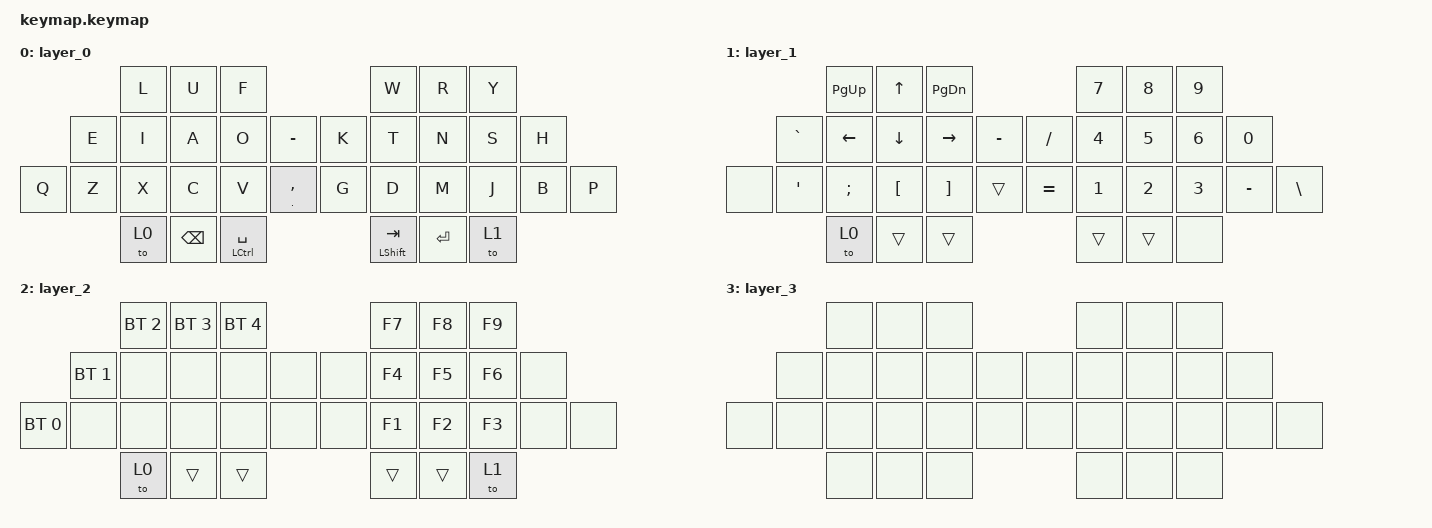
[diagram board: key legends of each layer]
#include <behaviors.dtsi>
#include <dt-bindings/zmk/bt.h>
#include <dt-bindings/zmk/keys.h>

/ {
    battery: battery {
        compatible = "zmk,battery";
        io-channels = <&adc 0>;
    };
};

/ {
    combos {
        compatible = "zmk,combos";

        kana {
            bindings = <&kp LANGUAGE_1>;
            key-positions = <8 9>;
        };

        esc {
            bindings = <&kp ESCAPE>;
            key-positions = <6 17>;
        };

        gui {
            bindings = <&kp LEFT_GUI>;
            key-positions = <6 16>;
        };

        alpha {
            bindings = <&kp LANGUAGE_2>;
            key-positions = <12 13>;
        };

        alt {
            bindings = <&kp LEFT_ALT>;
            key-positions = <14 26>;
        };

        ToLayer1 {
            bindings = <&to 1>;
            key-positions = <16 28>;
        };

        Fun7 {
            bindings = <&kp F7>;
            key-positions = <16 3>;
        };

        Fun8 {
            bindings = <&kp F8>;
            key-positions = <16 4>;
        };

        Fun9 {
            bindings = <&kp F9>;
            key-positions = <16 5>;
        };

        to_layer2 {
            bindings = <&to 2>;
            key-positions = <28 33>;
        };

        CtrtT {
            bindings = <&kp LC(T)>;
            key-positions = <30 10>;
        };

        CtrlW {
            bindings = <&kp LC(W)>;
            key-positions = <30 21>;
        };

        AltF4 {
            bindings = <&kp LA(F4)>;
            key-positions = <16 12>;
        };
    };

    keymap {
        compatible = "zmk,keymap";

        layer_0 {
            bindings = <
              &kp L  &kp U          &kp F                                     &kp W               &kp R      &kp Y
       &kp E  &kp I  &kp A          &kp O            &kp MINUS         &kp K  &kp T               &kp N      &kp S  &kp H
&kp Q  &kp Z  &kp X  &kp C          &kp V            &mt PERIOD COMMA  &kp G  &kp D               &kp M      &kp J  &kp B  &kp P
              &to 0  &kp BACKSPACE  &mt LCTRL SPACE                           &mt LEFT_SHIFT TAB  &kp ENTER  &to 1
            >;
        };

        layer_1 {
            bindings = <
                  &kp PAGE_UP    &kp UP_ARROW      &kp PAGE_DOWN                            &kp N7        &kp N8        &kp N9
       &kp GRAVE  &kp LEFT       &kp DOWN          &kp RIGHT          &kp MINUS  &kp SLASH  &kp NUMBER_4  &kp N5        &kp NUMBER_6  &kp N0
&none  &kp SQT    &kp SEMICOLON  &kp LEFT_BRACKET  &kp RIGHT_BRACKET  &trans     &kp EQUAL  &kp NUMBER_1  &kp NUMBER_2  &kp NUMBER_3  &kp MINUS  &kp BACKSLASH
                  &to 0          &trans            &trans                                   &trans        &trans        &none
            >;
        };

        layer_2 {
            bindings = <
                            &bt BT_SEL 2  &bt BT_SEL 3  &bt BT_SEL 4                &kp F7  &kp F8  &kp F9
              &bt BT_SEL 1  &none         &none         &none         &none  &none  &kp F4  &kp F5  &kp F6  &none
&bt BT_SEL 0  &none         &none         &none         &none         &none  &none  &kp F1  &kp F2  &kp F3  &none  &none
                            &to 0         &trans        &trans                      &trans  &trans  &to 1
            >;
        };

        layer_3 {
            bindings = <
              &none  &none  &none                &none  &none  &none
       &none  &none  &none  &none  &none  &none  &none  &none  &none  &none
&none  &none  &none  &none  &none  &none  &none  &none  &none  &none  &none  &none
              &none  &none  &none                &none  &none  &none
            >;
        };
    };
};
